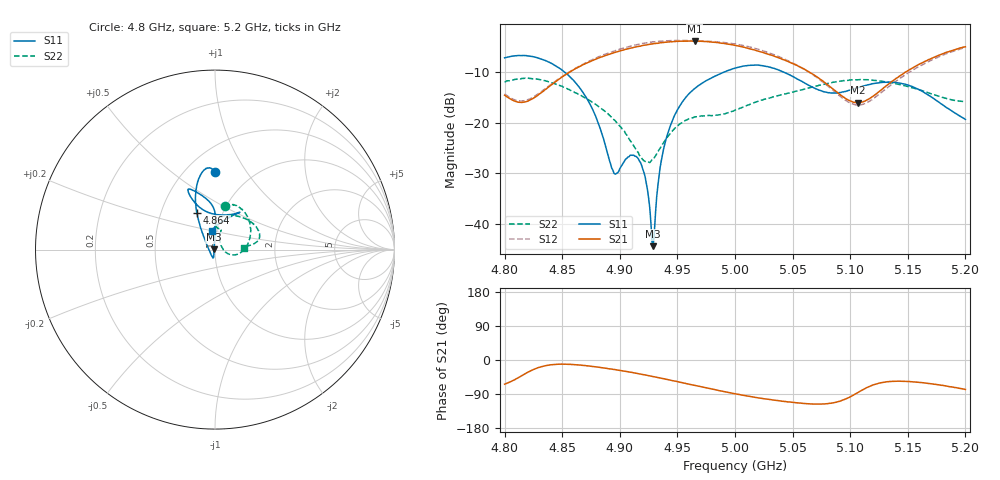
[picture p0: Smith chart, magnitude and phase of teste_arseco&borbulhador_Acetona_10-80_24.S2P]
! Network Analyzer HP8722D
! Hewlett-Packard
! Data name: Linha & Wilkinson
! Saver's name: Rodrigo Anjos
! Comments: Teste da utilização de aquisição
! continua pelo VNA HP8722D
! Time and date: 25/4/2025 15:28
!  Frequency  S11  S21  S12  S22
# HZ  S  MA R 50
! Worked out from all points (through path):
!   401 points, 4.8 GHz to 5.2 GHz, reference 50 ohm
!   highest |S21| = -3.93 dB at 4.965 GHz (marker M1); lowest = -16.1 dB at 5.107 GHz (marker M2)
!   lowest |S11| = -44.4 dB at 4.929 GHz (marker M3), VSWR 1.01, Z = 49.4 + j0.145 ohm
!   |S11| at or under -10 dB: 4.852 GHz to 4.991 GHz (139.7 MHz wide, 2.84 % of centre); 5.041 GHz to end of sweep
!   |S22| runs from -27.9 to -11.3 dB; largest |S21 - S12| = 1.2
!   S11 on the Smith chart (normalised r, x): 4.8 GHz: 0.68, +0.73; 4.864 GHz: 0.76, +0.33; 5.2 GHz: 0.94, +0.20
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4.8e9  0.4336 90.3  0.1857 -63.9  0.1914 69.7  0.249 77.6
4.82e9  0.4518 96.6  0.162 -32.5  0.1674 98.4  0.2735 61.6
4.864e9  0.2291 116.1  0.3509 -12.8  0.3539 121.0  0.1898 11.9
4.867e9  0.206 117.9  0.3648 -14.0  0.3693 120.7  0.1828 8.5
4.88e9  0.1078 128.1  0.4248 -18.5  0.4349 118.2  0.1482 -5.5
4.895e9  0.03153 -168.9  0.487 -25.0  0.5037 113.7  0.1062 -16.2
4.909e9  0.04757 -104.7  0.5382 -32.1  0.5637 107.6  0.06633 -14.9
4.917e9  0.04188 -100.3  0.5634 -36.7  0.5916 103.4  0.04758 -1.8
4.923e9  0.0252 -105.3  0.5797 -40.0  0.6075 99.9  0.04077 20.3
4.927e9  0.0103 -126.4  0.5919 -42.6  0.6185 97.4  0.04158 37.8
4.929e9  0.006057 165.9  0.5961 -43.7  0.624 96.5  0.04313 45.0
4.934e9  0.02929 98.2  0.6059 -46.9  0.6312 93.2  0.05366 59.2
4.939e9  0.06096 92.1  0.6164 -50.0  0.6371 89.9  0.06606 66.8
4.946e9  0.1068 89.1  0.6257 -54.7  0.6409 85.5  0.08325 70.8
4.965e9  0.2159 90.6  0.6361 -67.1  0.6398 73.5  0.1137 72.3
5e9  0.343 108.9  0.5753 -89.1  0.5945 50.6  0.1324 88.7
5.03e9  0.3514 115.0  0.4663 -104.2  0.4816 33.8  0.1739 85.4
5.067e9  0.2238 104.9  0.3018 -116.0  0.2987 23.6  0.2228 57.1
5.107e9  0.2212 63.2  0.1567 -85.1  0.1488 57.9  0.2636 24.1
5.134e9  0.2495 56.4  0.2421 -56.7  0.2276 88.6  0.2479 12.3
5.168e9  0.1858 68.3  0.4163 -61.9  0.3983 85.2  0.1956 6.9
5.2e9  0.1072 99.8  0.5568 -77.7  0.5467 70.1  0.1603 3.9
